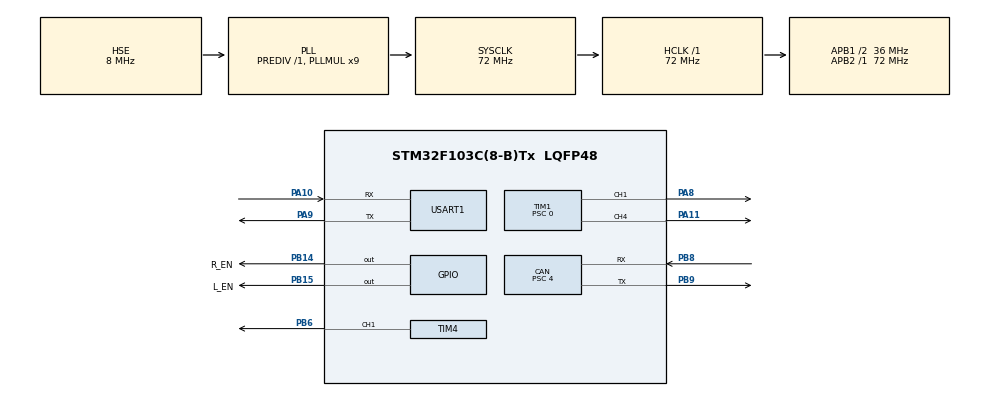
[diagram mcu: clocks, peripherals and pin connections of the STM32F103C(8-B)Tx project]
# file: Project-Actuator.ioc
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CAN.BS1=CAN_BS1_13TQ
CAN.BS2=CAN_BS2_4TQ
CAN.CalculateBaudRate=500000
CAN.CalculateTimeBit=2000
CAN.CalculateTimeQuantum=111.11111111111111
CAN.Prescaler=4
Mcu.Family=STM32F1
Mcu.Name=STM32F103C(8-B)Tx
Mcu.Package=LQFP48
NVIC.PriorityGroup=NVIC_PRIORITYGROUP_4
NVIC.USB_LP_CAN1_RX0_IRQn=true\:0\:0\:false\:false\:true\:true\:true\:true
PA0-WKUP.Signal=S_TIM2_CH1_ETR
PA1.Signal=S_TIM2_CH2
PA10.Mode=Asynchronous
PA10.Signal=USART1_RX
PA11.Signal=S_TIM1_CH4
PA13.Mode=Serial_Wire
PA13.Signal=SYS_JTMS-SWDIO
PA14.Mode=Serial_Wire
PA14.Signal=SYS_JTCK-SWCLK
PA8.Signal=S_TIM1_CH1
PA9.Mode=Asynchronous
PA9.Signal=USART1_TX
PB14.GPIO_Label=R_EN
PB14.Signal=GPIO_Output
PB15.GPIO_Label=L_EN
PB15.Signal=GPIO_Output
PB6.Signal=S_TIM4_CH1
PB8.Mode=CAN_Activate
PB8.Signal=CAN_RX
PB9.Mode=CAN_Activate
PB9.Signal=CAN_TX
PD0-OSC_IN.Mode=HSE-External-Oscillator
PD0-OSC_IN.Signal=RCC_OSC_IN
PD1-OSC_OUT.Mode=HSE-External-Oscillator
PD1-OSC_OUT.Signal=RCC_OSC_OUT
ProjectManager.HeapSize=0x200
ProjectManager.StackSize=0x400
ProjectManager.TargetToolchain=STM32CubeIDE
RCC.AHBFreq_Value=72000000
RCC.APB1CLKDivider=RCC_HCLK_DIV2
RCC.APB1Freq_Value=36000000
RCC.APB1TimFreq_Value=72000000
RCC.APB2Freq_Value=72000000
RCC.APB2TimFreq_Value=72000000
RCC.HCLKFreq_Value=72000000
RCC.PLLMUL=RCC_PLL_MUL9
RCC.PLLSourceVirtual=RCC_PLLSOURCE_HSE
RCC.SYSCLKFreq_VALUE=72000000
RCC.SYSCLKSource=RCC_SYSCLKSOURCE_PLLCLK
RCC.USBFreq_Value=72000000
SH.S_TIM1_CH1.0=TIM1_CH1,PWM Generation1 CH1
SH.S_TIM1_CH4.0=TIM1_CH4,PWM Generation4 CH4
SH.S_TIM2_CH1_ETR.0=TIM2_CH1
SH.S_TIM2_CH2.0=TIM2_CH2
SH.S_TIM4_CH1.0=TIM4_CH1,PWM Generation1 CH1
TIM1.Channel-PWM\ Generation1\ CH1=TIM_CHANNEL_1
TIM1.Channel-PWM\ Generation4\ CH4=TIM_CHANNEL_4
TIM1.Period=7199
TIM1.Prescaler=0
TIM4.Channel-PWM\ Generation1\ CH1=TIM_CHANNEL_1
TIM4.Period=9999
TIM4.Prescaler=143
USART1.VirtualMode=VM_ASYNC
VP_TIM1_VS_ClockSourceINT.Mode=Internal
VP_TIM4_VS_ClockSourceINT.Mode=Internal
board=custom

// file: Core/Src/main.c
/* USER CODE BEGIN Header */
/**
  ******************************************************************************
  * @file           : main.c
  * @brief          : Main program body
  ******************************************************************************
  * @attention
  *
  * Copyright (c) 2024 STMicroelectronics.
  * All rights reserved.
  *
  * This software is licensed under terms that can be found in the LICENSE file
  * in the root directory of this software component.
  * If no LICENSE file comes with this software, it is provided AS-IS.
  *
  ******************************************************************************
  */
/* USER CODE END Header */
#include "main.h"
#include "can.h"
#include "tim.h"
#include "usart.h"
#include "gpio.h"

/* USER CODE BEGIN Includes */
#include "stdio.h"
#include "SERVO.h"
#include "MOTOR.h"
#include "CAN_Handler.h"
/* USER CODE END Includes */

/* USER CODE BEGIN PV */
uint8_t left_buffer[] 		= { 1, 0, 0, 0, 0, 0, 0, 0 };
uint8_t right_buffer[] 		= { 2, 0, 0, 0, 0, 0, 0, 0 };
uint8_t forward_buffer[] 	= { 3, 0, 0, 0, 0, 0, 0, 0 };
uint8_t backward_buffer[] 	= { 4, 0, 0, 0, 0, 0, 0, 0 };
/* USER CODE END PV */

void SystemClock_Config(void);

/* USER CODE BEGIN 0 */
uint8_t data_received_flag = 0, v_direction = FORWARD;
int8_t h_direction = STRAIGHT;

void HAL_CAN_RxFifo0MsgPendingCallback(CAN_HandleTypeDef* hcan)
{
	if(HAL_CAN_GetRxMessage(hcan, CAN_RX_FIFO0, &rx_handler.header, rx_handler.buffer)){
		Error_Handler();
	}
	v_direction = rx_handler.buffer[0];
	h_direction = (int8_t)rx_handler.buffer[1];
	data_received_flag = 1;
}
/* USER CODE END 0 */

int main(void)
{

  /* MCU Configuration--------------------------------------------------------*/

  /* Reset of all peripherals, Initializes the Flash interface and the Systick. */
  HAL_Init();

  /* Configure the system clock */
  SystemClock_Config();

  /* Initialize all configured peripherals */
  MX_GPIO_Init();
  MX_TIM1_Init();
  MX_USART1_UART_Init();
  MX_TIM4_Init();
  MX_CAN_Init();
  /* USER CODE BEGIN 2 */
  motorStart();
  servoStart();
  CAN_Filter_SingleFF0_Config(&hcan, &can_filter, SENSOR_ADDR);
  CAN_ComInit_Std(&tx_handler.header, &hcan, ACTUATOR_ADDR, 1);
  /* USER CODE END 2 */

  /* Infinite loop */
  /* USER CODE BEGIN WHILE */
	run(30, FORWARD);

	while (1)
	{
		if(!data_received_flag) {
			continue;
		}

		switch(v_direction){
			case FORWARD:
				switch(h_direction){
					case LEFT:
						tx_handler.buffer = left_buffer;
						break;
					case RIGHT:
						tx_handler.buffer = right_buffer;
						break;
					case STRAIGHT:
						tx_handler.buffer = forward_buffer;
						break;
					default:
						break;
				}
			case BACKWARD:
				tx_handler.buffer = backward_buffer;
				break;
			default:
				break;
		}
		run(30, v_direction);
		turn(40, h_direction);
		CAN_Transmit(&hcan, &tx_handler);

		data_received_flag = 0;

    /* USER CODE END WHILE */

	}
}

void SystemClock_Config(void)
{
  RCC_OscInitTypeDef RCC_OscInitStruct = {0};
  RCC_ClkInitTypeDef RCC_ClkInitStruct = {0};

  /** Initializes the RCC Oscillators according to the specified parameters
  * in the RCC_OscInitTypeDef structure.
  */
  RCC_OscInitStruct.OscillatorType = RCC_OSCILLATORTYPE_HSE;
  RCC_OscInitStruct.HSEState = RCC_HSE_ON;
  RCC_OscInitStruct.HSEPredivValue = RCC_HSE_PREDIV_DIV1;
  RCC_OscInitStruct.HSIState = RCC_HSI_ON;
  RCC_OscInitStruct.PLL.PLLState = RCC_PLL_ON;
  RCC_OscInitStruct.PLL.PLLSource = RCC_PLLSOURCE_HSE;
  RCC_OscInitStruct.PLL.PLLMUL = RCC_PLL_MUL9;
  if (HAL_RCC_OscConfig(&RCC_OscInitStruct) != HAL_OK)
  {
    Error_Handler();
  }

  /** Initializes the CPU, AHB and APB buses clocks
  */
  RCC_ClkInitStruct.ClockType = RCC_CLOCKTYPE_HCLK|RCC_CLOCKTYPE_SYSCLK
                              |RCC_CLOCKTYPE_PCLK1|RCC_CLOCKTYPE_PCLK2;
  RCC_ClkInitStruct.SYSCLKSource = RCC_SYSCLKSOURCE_PLLCLK;
  RCC_ClkInitStruct.AHBCLKDivider = RCC_SYSCLK_DIV1;
  RCC_ClkInitStruct.APB1CLKDivider = RCC_HCLK_DIV2;
  RCC_ClkInitStruct.APB2CLKDivider = RCC_HCLK_DIV1;

  if (HAL_RCC_ClockConfig(&RCC_ClkInitStruct, FLASH_LATENCY_2) != HAL_OK)
  {
    Error_Handler();
  }
}

void Error_Handler(void)
{
  __disable_irq();
  while (1)
  {
  }
}
